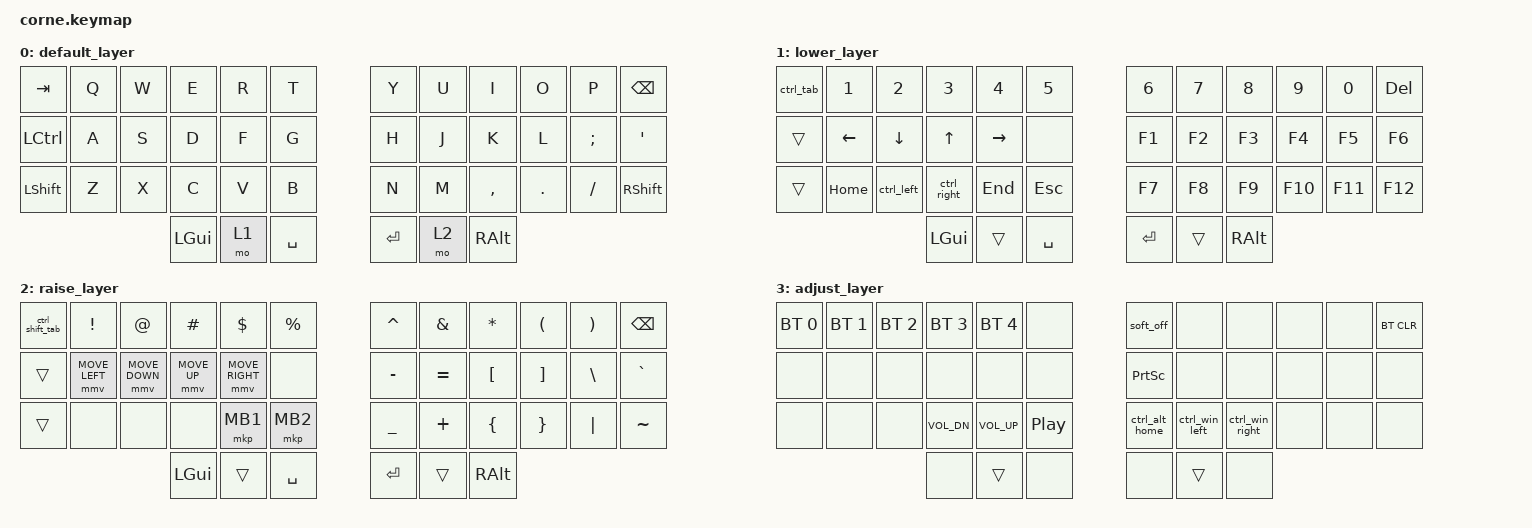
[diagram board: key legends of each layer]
/*
 * Copyright (c) 2020 The ZMK Contributors
 *
 * SPDX-License-Identifier: MIT
 */

#define ZMK_POINTING_DEFAULT_MOVE_VAL 1200  // default: 600
#define ZMK_POINTING_DEFAULT_SCRL_VAL 20

#include <behaviors.dtsi>
#include <dt-bindings/zmk/keys.h>
#include <dt-bindings/zmk/bt.h>
#include <dt-bindings/zmk/rgb.h>
#include <dt-bindings/zmk/ext_power.h>
#include <dt-bindings/zmk/pointing.h>

#define BASE 0
#define LOWER 1
#define RAISE 2
#define ADJUST 3

/ {
    macros {
      ctrl_alt_home: ctrl_alt_home {
        compatible = "zmk,behavior-macro";
        #binding-cells = <0>;
        bindings = <&macro_press &kp LCTRL &kp LALT>,
                   <&macro_tap &kp HOME>,
                   <&macro_release &kp LCTRL &kp LALT>;
      };
      ctrl_win_left: ctrl_win_left {
        compatible = "zmk,behavior-macro";
        #binding-cells = <0>;
        bindings = <&macro_press &kp LCTRL &kp LGUI>,
                   <&macro_tap &kp LEFT>,
                   <&macro_release &kp LCTRL &kp LGUI>;
      };
      ctrl_win_right: ctrl_win_right {
        compatible = "zmk,behavior-macro";
        #binding-cells = <0>;
        bindings = <&macro_press &kp LCTRL &kp LGUI>,
                   <&macro_tap &kp RIGHT>,
                   <&macro_release &kp LCTRL &kp LGUI>;
      };
      ctrl_shift_esc: ctrl_shift_esc {
        compatible = "zmk,behavior-macro";
        #binding-cells = <0>;
        bindings = <&macro_press &kp LCTRL &kp LSHIFT>,
                   <&macro_tap &kp ESC>,
                   <&macro_release &kp LCTRL &kp LSHIFT>;
      };
      alt_f4: alt_f4 {
        compatible = "zmk,behavior-macro";
        #binding-cells = <0>;
        bindings = <&macro_press &kp LALT>,
                   <&macro_tap &kp F4>,
                   <&macro_release &kp LALT>;
      };
      ctrl_shift_r: ctrl_shift_r {
        compatible = "zmk,behavior-macro";
        #binding-cells = <0>;
        bindings = <&macro_press &kp LCTRL &kp LSHIFT>,
                   <&macro_tap &kp R>,
                   <&macro_release &kp LCTRL &kp LSHIFT>;
      };
      win_l: win_l {
        compatible = "zmk,behavior-macro";
        #binding-cells = <0>;
        bindings = <&macro_press &kp LGUI>,
                   <&macro_tap &kp L>,
                   <&macro_release &kp LGUI>;
      };
      ctrl_left: ctrl_left {
        compatible = "zmk,behavior-macro";
        #binding-cells = <0>;
        bindings = <&macro_press &kp LCTRL>,
                   <&macro_tap &kp LEFT>,
                   <&macro_release &kp LCTRL>;
      };
      ctrl_right: ctrl_right {
        compatible = "zmk,behavior-macro";
        #binding-cells = <0>;
        bindings = <&macro_press &kp LCTRL>,
                   <&macro_tap &kp RIGHT>,
                   <&macro_release &kp LCTRL>;
      };
      ctrl_tab: ctrl_tab {
        compatible = "zmk,behavior-macro";
        #binding-cells = <0>;
        bindings = <&macro_press &kp LCTRL>,
                   <&macro_tap &kp TAB>,
                   <&macro_release &kp LCTRL>;
      };
      ctrl_shift_tab: ctrl_shift_tab {
        compatible = "zmk,behavior-macro";
        #binding-cells = <0>;
        bindings = <&macro_press &kp LCTRL &kp LSHIFT>,
                   <&macro_tap &kp TAB>,
                   <&macro_release &kp LCTRL &kp LSHIFT>;
      };
  };
};

/ {
  conditional_layers {
    compatible = "zmk,conditional-layers";
    adjust_layer {
      if-layers = <LOWER RAISE>;
      then-layer = <ADJUST>;
    };
  };

  keymap {
    compatible = "zmk,keymap";
    default_layer {
      // display_name = "default";
      bindings = <
&kp TAB         &kp Q           &kp W           &kp E           &kp R           &kp T           &kp Y           &kp U           &kp I           &kp O           &kp P           &kp BSPC
&kp LCTRL       &kp A           &kp S           &kp D           &kp F           &kp G           &kp H           &kp J           &kp K           &kp L           &kp SEMI        &kp SQT
&kp LSHFT       &kp Z           &kp X           &kp C           &kp V           &kp B           &kp N           &kp M           &kp COMMA       &kp DOT         &kp FSLH        &kp RSHFT
                                                &kp LGUI        &mo 1           &kp SPACE       &kp RET         &mo 2           &kp RALT
      >;
    };
    lower_layer {
      // display-name = "lower";
      bindings = <
&ctrl_tab       &kp N1          &kp N2          &kp N3          &kp N4          &kp N5          &kp N6          &kp N7          &kp N8          &kp N9          &kp N0          &kp DEL
&trans          &kp LEFT        &kp DOWN        &kp UP          &kp RIGHT       &none           &kp F1          &kp F2          &kp F3          &kp F4          &kp F5          &kp F6
&trans          &kp HOME        &ctrl_left      &ctrl_right     &kp END         &kp ESC         &kp F7          &kp F8          &kp F9          &kp F10         &kp F11         &kp F12
                                                &kp LGUI        &trans          &kp SPACE       &kp RET         &trans          &kp RALT
      >;
    };
    raise_layer {
      // display-name = "raise";
      bindings = <
&ctrl_shift_tab &kp EXCL        &kp AT          &kp HASH        &kp DLLR        &kp PRCNT       &kp CARET       &kp AMPS        &kp ASTRK       &kp LPAR        &kp RPAR       &kp BSPC
&trans          &mmv MOVE_LEFT  &mmv MOVE_DOWN  &mmv MOVE_UP    &mmv MOVE_RIGHT &none           &kp MINUS       &kp EQUAL       &kp LBKT        &kp RBKT        &kp BSLH       &kp GRAVE
&trans          &none           &none           &none           &mkp MB1        &mkp MB2        &kp UNDER       &kp PLUS        &kp LBRC        &kp RBRC        &kp PIPE       &kp TILDE
                                                &kp LGUI        &trans          &kp SPACE       &kp RET         &trans          &kp RALT
      >;
    };
    adjust_layer {
      // display-name = "adjust";
      bindings = <
&bt BT_SEL 0    &bt BT_SEL 1    &bt BT_SEL 2    &bt BT_SEL 3    &bt BT_SEL 4    &none           &soft_off       &none           &none           &none           &none           &bt BT_CLR
&none           &none           &none           &none           &none           &none           &kp PSCRN       &none           &none           &none           &none           &none
&none           &none           &none           &kp C_VOL_DN    &kp C_VOL_UP    &kp C_PP        &ctrl_alt_home  &ctrl_win_left  &ctrl_win_right &none           &none           &none
                                                &none           &trans          &none           &none           &trans          &none
      >;
    };
  };
};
